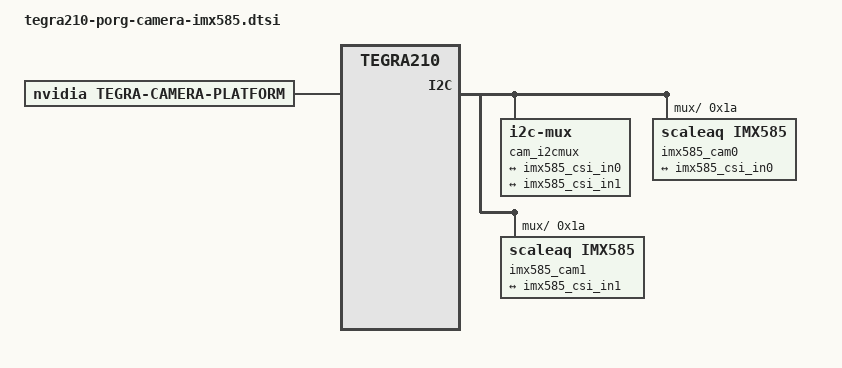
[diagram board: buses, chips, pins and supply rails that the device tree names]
/*
 * tegra210-porg-camera-imx585.dtsi - imx585 sensor device tree
 *
 * Copyright (c) 2022. ScaleAQ.  All rights reserved.
 *
 * This program is free software; you can redistribute it and/or modify it
 * under the terms and conditions of the GNU General Public License,
 * version 2, as published by the Free Software Foundation.
 *
 * This program is distributed in the hope it will be useful, but WITHOUT
 * ANY WARRANTY; without even the implied warranty of MERCHANTABILITY or
 * FITNESS FOR A PARTICULAR PURPOSE.  See the GNU General Public License for
 * more details.
 *
 * You should have received a copy of the GNU General Public License
 * along with this program.  If not, see <http://www.gnu.org/licenses/>.
 */

#include <dt-bindings/media/camera.h>
#include <dt-bindings/platform/t210/t210.h>
#include <dt-bindings/clock/tegra210-car.h>

/ {
	cam_i2cmux {
		i2c_0: i2c@0 {
			imx585_cam0: imx585_a@1a {
				compatible = "scaleaq,imx585";
				reg = <0x1a>;
				status = "okay";

				devnode = "video0";

				physical_w = "20.00";
				physical_h = "16.80";

				sensor_model ="imx585";

				/* Define any required hw resources needed by driver */
				/* ie. clocks, io pins, power sources */


				/* Defines number of frames to be dropped by driver internally after applying */
				/* sensor crop settings. Some sensors send corrupt frames after applying */
				/* crop co-ordinates */
				post_crop_frame_drop = "0";

				/* Convert Gain to unit of dB (decibel) befor passing to kernel driver */
				use_decibel_gain = "true";

				/* if true, delay gain setting by one frame to be in sync with exposure */
				delayed_gain = "false";

				/* enable CID_SENSOR_MODE_ID for sensor modes selection */
				use_sensor_mode_id = "false";

				/**
				* ==== Modes ====
				* A modeX node is required to support v4l2 driver
				* implementation with NVIDIA camera software stack
				*
				* == Signal properties ==

				*
				* phy_mode = "";
				* PHY mode used by the MIPI lanes for this device
				*
				* tegra_sinterface = "";
				* CSI Serial interface connected to tegra
				* Incase of virtual HW devices, use virtual
				* For SW emulated devices, use host

				*
				* pix_clk_hz = "";
				* Sensor pixel clock used for calculations like exposure and framerate
				*
				* readout_orientation = "0";
				* Based on camera module orientation.
				* Only change readout_orientation if you specifically
				* Program a different readout order for this mode
				*
				* == Image format Properties ==
				*
				* active_w = "";
				* Pixel active region width
				*
				* active_h = "";
				* Pixel active region height
				*
				* pixel_t = "";
				* The sensor readout pixel pattern
				*
				* line_length = "";
				* Pixel line length (width) for sensor mode.
				*
				* == Source Control Settings ==
				*
				* Gain factor used to convert fixed point integer to float
				* Gain range [min_gain/gain_factor, max_gain/gain_factor]
				* Gain step [step_gain/gain_factor is the smallest step that can be configured]
				* Default gain [Default gain to be initialized for the control.
				*     use min_gain_val as default for optimal results]
				* Framerate factor used to convert fixed point integer to float
				* Framerate range [min_framerate/framerate_factor, max_framerate/framerate_factor]
				* Framerate step [step_framerate/framerate_factor is the smallest step that can be configured]
				* Default Framerate [Default framerate to be initialized for the control.
				*     use max_framerate to get required performance]
				* Exposure factor used to convert fixed point integer to float
				* For convenience use 1 sec = 1000000us as conversion factor
				* Exposure range [min_exp_time/exposure_factor, max_exp_time/exposure_factor]
				* Exposure step [step_exp_time/exposure_factor is the smallest step that can be configured]
				* Default Exposure Time [Default exposure to be initialized for the control.
				*     Set default exposure based on the default_framerate for optimal exposure settings]

				*
				* gain_factor = ""; (integer factor used for floating to fixed point conversion)


				* min_gain_val = ""; (ceil to integer)
				* max_gain_val = ""; (ceil to integer)
				* step_gain_val = ""; (ceil to integer)
				* default_gain = ""; (ceil to integer)
				* Gain limits for mode
				*
				* exposure_factor = ""; (integer factor used for floating to fixed point conversion)
				* min_exp_time = ""; (ceil to integer)
				* max_exp_time = ""; (ceil to integer)
				* step_exp_time = ""; (ceil to integer)
				* default_exp_time = ""; (ceil to integer)
				* Exposure Time limits for mode (sec)

				*
				* framerate_factor = ""; (integer factor used for floating to fixed point conversion)
				* min_framerate = ""; (ceil to integer)
				* max_framerate = ""; (ceil to integer)

				* step_framerate = ""; (ceil to integer)
				* default_framerate = ""; (ceil to integer)
				* Framerate limits for mode (fps)
				*
				* embedded_metadata_height = "";
				* Sensor embedded metadata height in units of rows.
				* If sensor does not support embedded metadata value should be 0.
				*/

				mode0 { //
					mclk_khz = "37125";
					num_lanes = "2";
					tegra_sinterface = "serial_a";
					phy_mode = "DPHY";
					discontinuous_clk = "no";
					dpcm_enable = "false";
					cil_settletime = "0";
					active_w = "3856";
					active_h = "2180";

					dynamic_pixel_bit_depth = "12";
					csi_pixel_bit_depth = "12";
					mode_type = "bayer";
					pixel_phase = "rggb";

					readout_orientation = "0";
					line_length = "6600";
					inherent_gain = "1";
					mclk_multiplier = "40.40";
					pix_clk_hz = "1500000000";

					gain_factor = "10";
					min_gain_val = "0"; /* 0dB */
					max_gain_val = "720"; /* 72dB */
					step_gain_val = "3"; /* 0.3 */
					default_gain = "0";
					min_hdr_ratio = "1";
					max_hdr_ratio = "64";
					framerate_factor = "1000000";
					min_framerate = "2000000"; /* 1.5 */
					max_framerate = "30000000"; /* 38 */
					step_framerate = "1";
					default_framerate= "30000000";
					exposure_factor = "1000000";
					min_exp_time = "27";  /* us */
					max_exp_time = "660000"; /* us */
					step_exp_time = "1";
					default_exp_time = "10000";/* us */
					embedded_metadata_height = "1";
				};
				mode1 { //
					mclk_khz = "37125";
					num_lanes = "2";
					tegra_sinterface = "serial_a";
					phy_mode = "DPHY";
					discontinuous_clk = "no";
					dpcm_enable = "false";
					cil_settletime = "0";
					active_w = "1928";
					active_h = "1090";

					dynamic_pixel_bit_depth = "12";
					csi_pixel_bit_depth = "12";
					mode_type = "bayer";
					pixel_phase = "rggb";

					readout_orientation = "0";
					line_length = "6600";
					inherent_gain = "1";
					mclk_multiplier = "40.40";
					pix_clk_hz = "1500000000";

					gain_factor = "10";
					min_gain_val = "0"; /* 0dB */
					max_gain_val = "720"; /* 72dB */
					step_gain_val = "3"; /* 0.3 */
					default_gain = "0";
					min_hdr_ratio = "1";
					max_hdr_ratio = "64";
					framerate_factor = "1000000";
					min_framerate = "1500000"; /* 1.5 */
					max_framerate = "30000000"; /* 75 */
					step_framerate = "1";
					default_framerate= "30000000";
					exposure_factor = "1000000";
					min_exp_time = "27";  /* us */
					max_exp_time = "660000"; /* us */
					step_exp_time = "1";
					default_exp_time = "10000";/* us */
					embedded_metadata_height = "1";
				};
				mode2 { //
					mclk_khz = "37125";
					num_lanes = "2";
					tegra_sinterface = "serial_a";
					phy_mode = "DPHY";
					discontinuous_clk = "no";
					dpcm_enable = "false";
					cil_settletime = "0";
					active_w = "3856";
					active_h = "2180";

					dynamic_pixel_bit_depth = "12";
					csi_pixel_bit_depth = "12";
					mode_type = "bayer";
					pixel_phase = "rggb";

					readout_orientation = "0";
					line_length = "6600";
					inherent_gain = "1";
					mclk_multiplier = "40.40";
					pix_clk_hz = "1500000000";

					gain_factor = "10";
					min_gain_val = "0"; /* 0dB */
					max_gain_val = "720"; /* 72dB */
					step_gain_val = "3"; /* 0.3 */
					default_gain = "0";
					min_hdr_ratio = "1";
					max_hdr_ratio = "64";
					framerate_factor = "1000000";
					min_framerate = "1500000"; /* 1.5 */
					max_framerate = "30000000"; /* 62 */
					step_framerate = "1";
					default_framerate= "30000000";
					exposure_factor = "1000000";
					min_exp_time = "27";  /* us */
					max_exp_time = "660000"; /* us */
					step_exp_time = "1";
					default_exp_time = "10000";/* us */
					embedded_metadata_height = "1";
				};

				ports {
					#address-cells = <1>;
					#size-cells = <0>;

					port@0 {
						reg = <0>;
						imx585_out0: endpoint {
							port-index = <0>;
							bus-width = <2>;
							remote-endpoint = <&imx585_csi_in0>;
						};
					};
				};
			};
		};

		i2c_1: i2c@1 {
			imx585_cam1: imx585_e@1a {
				compatible = "scaleaq,imx585";
				reg = <0x1a>;
				status = "okay";

				devnode = "video1";

				physical_w = "20.00";
				physical_h = "16.80";

				sensor_model ="imx585";

				/* Define any required hw resources needed by driver */
				/* ie. clocks, io pins, power sources */


				/* Defines number of frames to be dropped by driver internally after applying */
				/* sensor crop settings. Some sensors send corrupt frames after applying */
				/* crop co-ordinates */
				post_crop_frame_drop = "0";

				/* Convert Gain to unit of dB (decibel) befor passing to kernel driver */
				use_decibel_gain = "true";

				/* if true, delay gain setting by one frame to be in sync with exposure */
				delayed_gain = "false";

				/* enable CID_SENSOR_MODE_ID for sensor modes selection */
				use_sensor_mode_id = "false";

				mode0 { //
					mclk_khz = "37125";
					num_lanes = "2";
					tegra_sinterface = "serial_e";
					phy_mode = "DPHY";
					discontinuous_clk = "no";
					dpcm_enable = "false";
					cil_settletime = "0";
					active_w = "3856";
					active_h = "2180";

					dynamic_pixel_bit_depth = "12";
					csi_pixel_bit_depth = "12";
					mode_type = "bayer";
					pixel_phase = "rggb";

					readout_orientation = "0";
					line_length = "6600";
					inherent_gain = "1";
					mclk_multiplier = "40.40";
					pix_clk_hz = "1500000000";

					gain_factor = "10";
					min_gain_val = "0"; /* 0dB */
					max_gain_val = "720"; /* 72dB */
					step_gain_val = "3"; /* 0.3 */
					default_gain = "0";
					min_hdr_ratio = "1";
					max_hdr_ratio = "64";
					framerate_factor = "1000000";
					min_framerate = "1500000"; /* 1.5 */
					max_framerate = "30000000"; /* 38 */
					step_framerate = "1";
					default_framerate= "30000000";
					exposure_factor = "1000000";
					min_exp_time = "27";  /* us */
					max_exp_time = "660000"; /* us */
					step_exp_time = "1";
					default_exp_time = "10000";/* us */
					embedded_metadata_height = "1";
				};
				mode1 { //
					mclk_khz = "37125";
					num_lanes = "2";
					tegra_sinterface = "serial_e";
					phy_mode = "DPHY";
					discontinuous_clk = "no";
					dpcm_enable = "false";
					cil_settletime = "0";
					active_w = "1928";
					active_h = "1090";

					dynamic_pixel_bit_depth = "12";
					csi_pixel_bit_depth = "12";
					mode_type = "bayer";
					pixel_phase = "rggb";

					readout_orientation = "0";
					line_length = "6600";
					inherent_gain = "1";
					mclk_multiplier = "40.40";
					pix_clk_hz = "1500000000";

					gain_factor = "10";
					min_gain_val = "0"; /* 0dB */
					max_gain_val = "720"; /* 72dB */
					step_gain_val = "3"; /* 0.3 */
					default_gain = "0";
					min_hdr_ratio = "1";
					max_hdr_ratio = "64";
					framerate_factor = "1000000";
					min_framerate = "1500000"; /* 1.5 */
					max_framerate = "30000000"; /* 75 */
					step_framerate = "1";
					default_framerate= "30000000";
					exposure_factor = "1000000";
					min_exp_time = "27";  /* us */
					max_exp_time = "660000"; /* us */
					step_exp_time = "1";
					default_exp_time = "10000";/* us */
					embedded_metadata_height = "1";
				};
				mode2 { //
					mclk_khz = "37125";
					num_lanes = "2";
					tegra_sinterface = "serial_e";
					phy_mode = "DPHY";
					discontinuous_clk = "no";
					dpcm_enable = "false";
					cil_settletime = "0";
					active_w = "3856";
					active_h = "2180";

					dynamic_pixel_bit_depth = "12";
					csi_pixel_bit_depth = "12";
					mode_type = "bayer";
					pixel_phase = "rggb";

					readout_orientation = "0";
					line_length = "6600";
					inherent_gain = "1";
					mclk_multiplier = "40.40";
					pix_clk_hz = "1500000000";

					gain_factor = "10";
					min_gain_val = "0"; /* 0dB */
					max_gain_val = "720"; /* 72dB */
					step_gain_val = "3"; /* 0.3 */
					default_gain = "0";
					min_hdr_ratio = "1";
					max_hdr_ratio = "64";
					framerate_factor = "1000000";
					min_framerate = "1500000"; /* 1.5 */
					max_framerate = "30000000"; /* 62 */
					step_framerate = "1";
					default_framerate= "30000000";
					exposure_factor = "1000000";
					min_exp_time = "27";  /* us */
					max_exp_time = "660000"; /* us */
					step_exp_time = "1";
					default_exp_time = "10000";/* us */
					embedded_metadata_height = "1";
				};

				ports {
					#address-cells = <1>;
					#size-cells = <0>;

					port@0 {
						reg = <0>;
						imx585_out1: endpoint {
							port-index = <4>;
							bus-width = <2>;
							remote-endpoint = <&imx585_csi_in1>;
						};
					};
				};
			};
		};
	};
};

/* camera control gpio definitions */
/ {
	tegra-camera-platform {
		compatible = "nvidia, tegra-camera-platform";
		status = "okay";

		/**
		* Physical settings to calculate max ISO BW
		*
		* num_csi_lanes = <>;
		* Total number of CSI lanes when all cameras are active
		*
		* max_lane_speed = <>;
		* Max lane speed in Kbit/s
		*
		* min_bits_per_pixel = <>;
		* Min bits per pixel
		*
		* vi_peak_byte_per_pixel = <>;
		* Max byte per pixel for the VI ISO case
		*
		* vi_bw_margin_pct = <>;
		* Vi bandwidth margin in percentage
		*
		* max_pixel_rate = <>;
		* Max pixel rate in Kpixel/s for the ISP ISO case
		*
		* isp_peak_byte_per_pixel = <>;
		* Max byte per pixel for the ISP ISO case
		*
		* isp_bw_margin_pct = <>;
		* Isp bandwidth margin in percentage
		*/
		num_csi_lanes = <4>;
		max_lane_speed = <1500000>;
		min_bits_per_pixel = <10>;
		vi_peak_byte_per_pixel = <2>;
		vi_bw_margin_pct = <25>;
		max_pixel_rate = <240000>;
		isp_peak_byte_per_pixel = <5>;
		isp_bw_margin_pct = <25>;

		/**
		 * The general guideline for naming badge_info contains 3 parts, and is as follows,
		 * The first part is the camera_board_id for the module; if the module is in a FFD
		 * platform, then use the platform name for this part.
		 * The second part contains the position of the module, ex. “rear” or “front”.
		 * The third part contains the last 6 characters of a part number which is found
		 * in the module's specsheet from the vender.
		 */
		modules {
			cam_module0: module0 {
				badge = "imx585_front";
				position = "front";
				orientation = "1";
				cam_module0_drivernode0: drivernode0 {
					/* Declare PCL support driver (classically known as guid)  */
					pcl_id = "v4l2_sensor";
					/* Driver v4l2 device name */
					devname = "imx585 7-001a";
					/* Declare the device-tree hierarchy to driver instance */
					proc-device-tree = "/proc/device-tree/cam_i2cmux/i2c@0/imx585_a@1a";
				};
			};
			cam_module1: module1 {
				badge = "imx585_rear";
				position = "rear";
				orientation = "1";
				cam_module1_drivernode0: drivernode0 {
					/* Declare PCL support driver (classically known as guid)  */
					pcl_id = "v4l2_sensor";
					/* Driver v4l2 device name */
					devname = "imx585 8-001a";
					/* Declare the device-tree hierarchy to driver instance */
					proc-device-tree = "/proc/device-tree/cam_i2cmux/i2c@1/imx585_e@1a";
				};
			};
		};
	};
};

